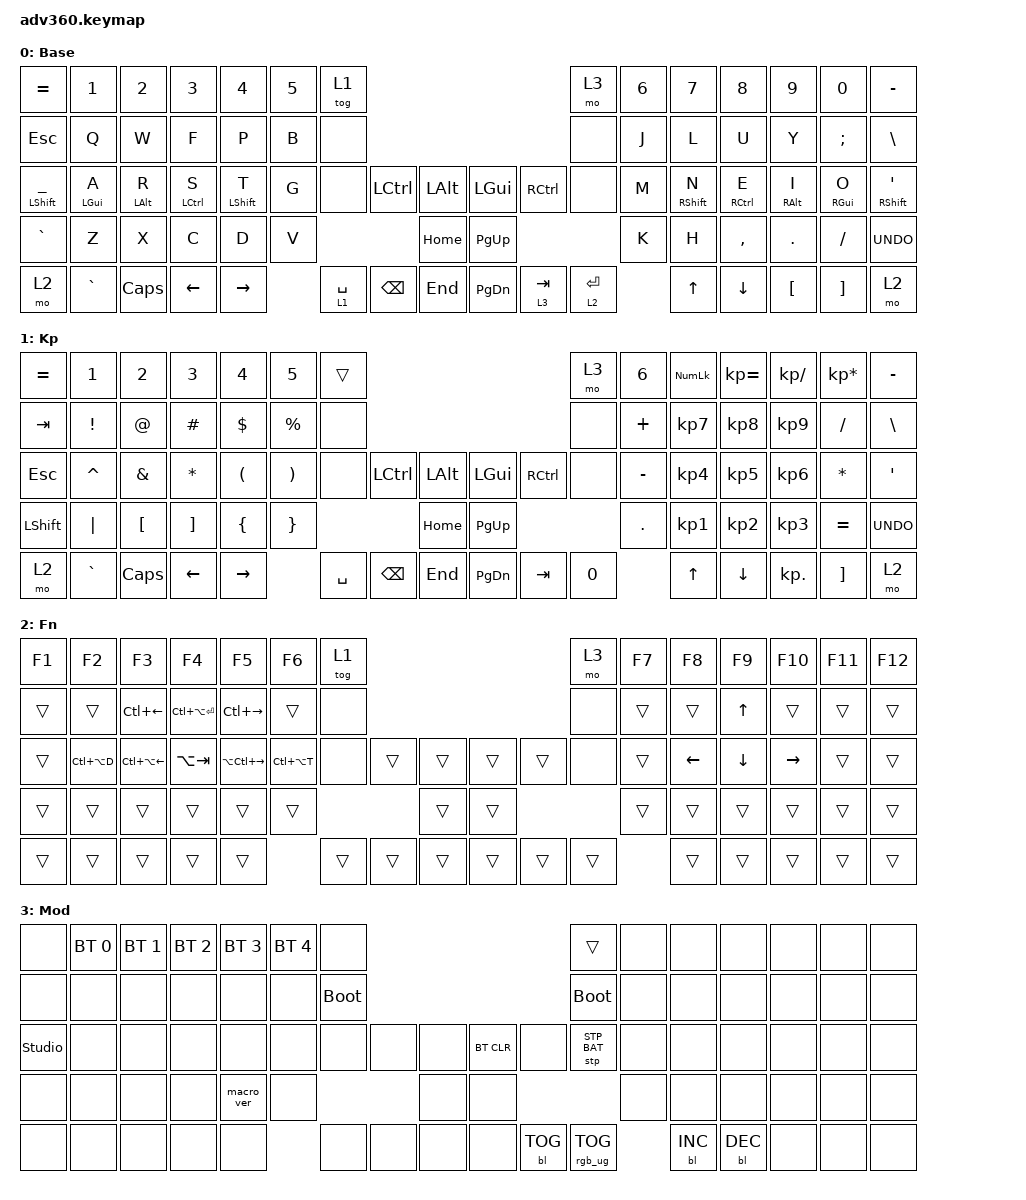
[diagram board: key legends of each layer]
#include <dt-bindings/zmk/stp.h>
#include <behaviors.dtsi>
#include <dt-bindings/zmk/backlight.h>
#include <dt-bindings/zmk/bt.h>
#include <dt-bindings/zmk/keys.h>
#include <dt-bindings/zmk/rgb.h>

/ {
    behaviors {
        #include "macros.dtsi"
      #include "version.dtsi"

        hm: homerow_mods {
            compatible = "zmk,behavior-hold-tap";
            label = "HOMEROW_MODS";
            #binding-cells = <2>;
            tapping-term-ms = <200>;
            quick_tap_ms = <175>;
            flavor = "tap-preferred";
            bindings = <&kp>, <&kp>;
        };

        HT_TAP_LAYER: HT_TAP_LAYER {
            compatible = "zmk,behavior-hold-tap";
            label = "HT_TAP_LAYER";
            bindings = <&mo>, <&kp>;

            #binding-cells = <2>;
            tapping-term-ms = <200>;
        };
    };

    keymap {
        compatible = "zmk,keymap";

        default_layer {
            display-name = "Base";
            bindings = <
&kp EQUAL             &kp N1          &kp N2          &kp N3              &kp N4            &kp N5  &tog 1                                                                              &mo 3                  &kp N6  &kp N7             &kp N8               &kp N9           &kp N0           &kp MINUS
&kp ESCAPE            &kp Q           &kp W           &kp F               &kp P             &kp B   &none                                                                               &none                  &kp J   &kp L              &kp U                &kp Y            &kp SEMICOLON    &kp BSLH
&hm LEFT_SHIFT UNDER  &hm LEFT_GUI A  &hm LEFT_ALT R  &hm LEFT_CONTROL S  &hm LEFT_SHIFT T  &kp G   &none                  &kp LCTRL      &kp LALT      &kp LGUI   &kp RCTRL            &none                  &kp M   &hm RIGHT_SHIFT N  &hm RIGHT_CONTROL E  &hm RIGHT_ALT I  &hm RIGHT_GUI O  &hm RIGHT_SHIFT SINGLE_QUOTE
&kp GRAVE             &kp Z           &kp X           &kp C               &kp D             &kp V                                         &kp HOME      &kp PG_UP                                              &kp K   &kp H              &kp COMMA            &kp DOT          &kp FSLH         &kp K_UNDO
&mo 2                 &kp GRAVE       &kp CAPS        &kp LEFT            &kp RIGHT                 &HT_TAP_LAYER 1 SPACE  &kp BACKSPACE  &kp END       &kp PG_DN  &HT_TAP_LAYER 3 TAB  &HT_TAP_LAYER 2 ENTER          &kp UP             &kp DOWN             &kp LBKT         &kp RBKT         &mo 2
            >;
        };

        keypad {
            display-name = "Kp";
            bindings = <
&kp EQUAL  &kp N1           &kp N2            &kp N3             &kp N4                &kp N5                 &trans                                                        &mo 3         &kp N6      &kp KP_NUM  &kp KP_EQUAL  &kp KP_DIVIDE  &kp KP_MULTIPLY  &kp MINUS
&kp TAB    &kp EXCLAMATION  &kp AT_SIGN       &kp POUND          &kp DOLLAR            &kp PERCENT            &none                                                         &none         &kp PLUS    &kp KP_N7   &kp KP_N8     &kp KP_N9      &kp SLASH        &kp BSLH
&kp ESC    &kp CARET        &kp AMPERSAND     &kp ASTRK          &kp LEFT_PARENTHESIS  &kp RIGHT_PARENTHESIS  &none      &kp LCTRL      &kp LALT      &kp LGUI   &kp RCTRL  &none         &kp MINUS   &kp KP_N4   &kp KP_N5     &kp KP_N6      &kp ASTERISK     &kp SQT
&kp LSHFT  &kp PIPE         &kp LEFT_BRACKET  &kp RIGHT_BRACKET  &kp LEFT_BRACE        &kp RIGHT_BRACE                                  &kp HOME      &kp PG_UP                           &kp PERIOD  &kp KP_N1   &kp KP_N2     &kp KP_N3      &kp EQUAL        &kp K_UNDO
&mo 2      &kp GRAVE        &kp CAPS          &kp LEFT           &kp RIGHT                                    &kp SPACE  &kp BACKSPACE  &kp END       &kp PG_DN  &kp TAB    &kp NUMBER_0              &kp UP      &kp DOWN      &kp KP_DOT     &kp RBKT         &mo 2
            >;
        };

        fn {
            display-name = "Fn";
            bindings = <
&kp F1  &kp F2         &kp F3            &kp F4             &kp F5             &kp F6         &tog 1                                      &mo 3   &kp F7  &kp F8    &kp F9          &kp F10    &kp F11  &kp F12
&trans  &trans         &kp LC(LEFT)      &kp LC(LA(ENTER))  &kp LC(RIGHT)      &trans         &none                                       &none   &trans  &trans    &kp UP_ARROW    &trans     &trans   &trans
&trans  &kp LC(LA(D))  &kp LC(LA(LEFT))  &kp LA(TAB)        &kp LA(LC(RIGHT))  &kp LC(LA(T))  &none   &trans  &trans      &trans  &trans  &none   &trans  &kp LEFT  &kp DOWN_ARROW  &kp RIGHT  &trans   &trans
&trans  &trans         &trans            &trans             &trans             &trans                         &trans      &trans                  &trans  &trans    &trans          &trans     &trans   &trans
&trans  &trans         &trans            &trans             &trans                            &trans  &trans  &trans      &trans  &trans  &trans          &trans    &trans          &trans     &trans   &trans
            >;
        };

        mod {
            display-name = "Mod";
            bindings = <
&none           &bt BT_SEL 0  &bt BT_SEL 1  &bt BT_SEL 2  &bt BT_SEL 3  &bt BT_SEL 4  &none                                                  &trans           &none  &none       &none       &none  &none  &none
&none           &none         &none         &none         &none         &none         &bootloader                                            &bootloader      &none  &none       &none       &none  &none  &none
&studio_unlock  &none         &none         &none         &none         &none         &none        &none  &none      &bt BT_CLR  &none       &stp STP_BAT     &none  &none       &none       &none  &none  &none
&none           &none         &none         &none         &macro_ver    &none                             &none      &none                                    &none  &none       &none       &none  &none  &none
&none           &none         &none         &none         &none                       &none        &none  &none      &none       &bl BL_TOG  &rgb_ug RGB_TOG         &bl BL_INC  &bl BL_DEC  &none  &none  &none
            >;
        };

        extra1 {
            display-name = "Red";
            status = "reserved";
        };

        extra2 {
            display-name = "Purple";
            status = "reserved";
        };

        extra3 {
            display-name = "Cyan";
            status = "reserved";
        };

        extra4 {
            display-name = "Yellow";
            status = "reserved";
        };
    };
};
